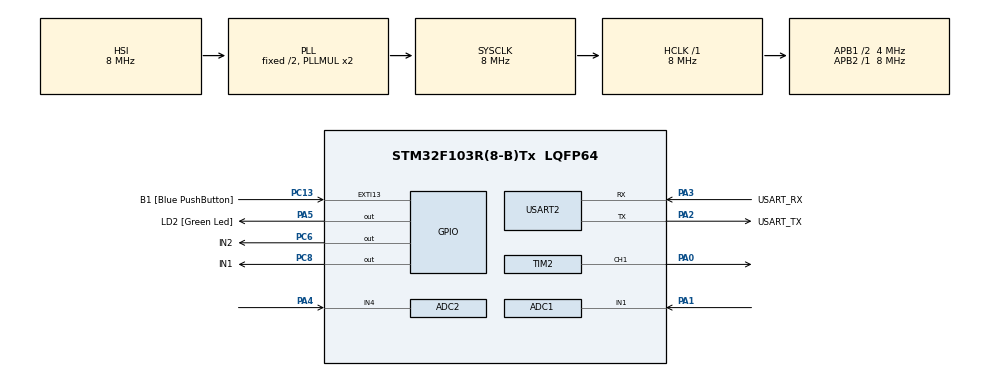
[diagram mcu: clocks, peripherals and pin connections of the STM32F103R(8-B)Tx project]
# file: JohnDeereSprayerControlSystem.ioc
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ADC1.Channel-2\#ChannelRegularConversion=ADC_CHANNEL_1
ADC1.NbrOfConversionFlag=1
ADC1.Rank-2\#ChannelRegularConversion=1
ADC1.SamplingTime-2\#ChannelRegularConversion=ADC_SAMPLETIME_1CYCLE_5
ADC1.master=1
ADC2.Channel-0\#ChannelRegularConversion=ADC_CHANNEL_4
ADC2.NbrOfConversionFlag=1
ADC2.Rank-0\#ChannelRegularConversion=1
ADC2.SamplingTime-0\#ChannelRegularConversion=ADC_SAMPLETIME_1CYCLE_5
Mcu.Family=STM32F1
Mcu.Name=STM32F103R(8-B)Tx
Mcu.Package=LQFP64
NVIC.EXTI15_10_IRQn=true\:0\:0\:false\:false\:true\:true\:true\:true
NVIC.PriorityGroup=NVIC_PRIORITYGROUP_4
PA0-WKUP.Signal=S_TIM2_CH1_ETR
PA1.Signal=ADCx_IN1
PA13.GPIO_Label=TMS
PA13.Mode=Serial_Wire
PA13.Signal=SYS_JTMS-SWDIO
PA14.GPIO_Label=TCK
PA14.Mode=Serial_Wire
PA14.Signal=SYS_JTCK-SWCLK
PA2.GPIO_Label=USART_TX
PA2.GPIO_Mode=GPIO_MODE_AF_PP
PA2.GPIO_PuPd=GPIO_NOPULL
PA2.GPIO_Speed=GPIO_SPEED_FREQ_LOW
PA2.Mode=Asynchronous
PA2.Signal=USART2_TX
PA3.GPIO_Label=USART_RX
PA3.GPIO_Mode=GPIO_MODE_AF_PP
PA3.GPIO_PuPd=GPIO_NOPULL
PA3.GPIO_Speed=GPIO_SPEED_FREQ_LOW
PA3.Mode=Asynchronous
PA3.Signal=USART2_RX
PA4.Signal=ADCx_IN4
PA5.GPIO_Label=LD2 [Green Led]
PA5.GPIO_ModeDefaultOutputPP=GPIO_MODE_OUTPUT_PP
PA5.GPIO_PuPd=GPIO_NOPULL
PA5.GPIO_Speed=GPIO_SPEED_FREQ_LOW
PA5.Signal=GPIO_Output
PB3.GPIO_Label=SWO
PB3.Signal=SYS_JTDO-TRACESWO
PC13-TAMPER-RTC.GPIO_Label=B1 [Blue PushButton]
PC13-TAMPER-RTC.GPIO_PuPd=GPIO_NOPULL
PC13-TAMPER-RTC.Signal=GPXTI13
PC14-OSC32_IN.Mode=LSE-External-Oscillator
PC14-OSC32_IN.Signal=RCC_OSC32_IN
PC15-OSC32_OUT.Mode=LSE-External-Oscillator
PC15-OSC32_OUT.Signal=RCC_OSC32_OUT
PC6.GPIO_Label=IN2
PC6.Signal=GPIO_Output
PC8.GPIO_Label=IN1
PC8.Signal=GPIO_Output
PD0-OSC_IN.Mode=HSE-External-Clock-Source
PD0-OSC_IN.Signal=RCC_OSC_IN
PD1-OSC_OUT.Mode=HSE-External-Clock-Source
PD1-OSC_OUT.Signal=RCC_OSC_OUT
ProjectManager.HeapSize=0x200
ProjectManager.StackSize=0x400
ProjectManager.TargetToolchain=STM32CubeIDE
RCC.AHBFreq_Value=8000000
RCC.APB1CLKDivider=RCC_HCLK_DIV2
RCC.APB1Freq_Value=4000000
RCC.APB1TimFreq_Value=8000000
RCC.APB2Freq_Value=8000000
RCC.APB2TimFreq_Value=8000000
RCC.HCLKFreq_Value=8000000
RCC.RTCClockSelection=RCC_RTCCLKSOURCE_LSE
RCC.SYSCLKFreq_VALUE=8000000
RCC.SYSCLKSource=RCC_SYSCLKSOURCE_PLLCLK
RCC.USBFreq_Value=8000000
SH.ADCx_IN1.0=ADC1_IN1,IN1
SH.ADCx_IN4.0=ADC2_IN4,IN4
SH.S_TIM2_CH1_ETR.0=TIM2_CH1,PWM Generation1 CH1
TIM2.Channel-PWM\ Generation1\ CH1=TIM_CHANNEL_1
TIM2.Period=63999
TIM2.Prescaler=1
USART2.VirtualMode=VM_ASYNC
board=NUCLEO-F103RB

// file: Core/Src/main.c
/* USER CODE BEGIN Header */
/**
  ******************************************************************************
  * @file           : main.c
  * @brief          : Main program body
  ******************************************************************************
  * @attention
  *
  * Copyright (c) 2024 STMicroelectronics.
  * All rights reserved.
  *
  * This software is licensed under terms that can be found in the LICENSE file
  * in the root directory of this software component.
  * If no LICENSE file comes with this software, it is provided AS-IS.
  *
  ******************************************************************************
  */
/* USER CODE END Header */
#include "main.h"

/* USER CODE BEGIN Includes */
#include "motor.h"
#include "read.h"
#include "PRBS.h"
#include "printf.h"
/* USER CODE END Includes */

ADC_HandleTypeDef hadc1;
ADC_HandleTypeDef hadc2;

TIM_HandleTypeDef htim2;

UART_HandleTypeDef huart2;

void SystemClock_Config(void);
static void MX_GPIO_Init(void);
static void MX_USART2_UART_Init(void);
static void MX_TIM2_Init(void);
static void MX_ADC1_Init(void);
static void MX_ADC2_Init(void);

/* USER CODE BEGIN 0 */

// Variables for angle measurements and rotations

float currentAngle = 0;
float previousAngle = 0;
float totalAngle = 0;
int32_t rotations = 0;

// Average filter variables

#define NUM_READINGS 20

float sumReadings = 0;
float setpointReadings[NUM_READINGS];
uint8_t readingIndex = 0;
bool bufferFull = false;

// PID control variables

float setpoint = 0;

const float Kp = -1.039966403870214;
const float Ki = -4.959425433419722;
const float Kd = -0.034733498159463;

/*

// Good PID

const float Kp = -1.039966403870214;
const float Ki = -4.959425433419722;
const float Kd = -0.034733498159463;

// Mid PID

const float Kp = -0.136508053666377;
const float Ki = -0.274237269562137;
const float Kd = -0.004712110883267;

// Bad PID

const float Kp = -0.067365919047418;
const float Ki = -0.097378384380969;
const float Kd = -0.005420369029048;

*/

float error = 0, lastError = 0, lastLastError = 0;
float output = 0, lastOutput = 0;

const float samplingTime =  0.015;

// Timing control variables

uint32_t previousTime = 0;
uint32_t currentTime = 0;
uint32_t elapsedTime = 0;

/* USER CODE END 0 */

int main(void)
{

  /* MCU Configuration--------------------------------------------------------*/

  /* Reset of all peripherals, Initializes the Flash interface and the Systick. */
  HAL_Init();

  /* Configure the system clock */
  SystemClock_Config();

  /* Initialize all configured peripherals */
  MX_GPIO_Init();
  MX_USART2_UART_Init();
  MX_TIM2_Init();
  MX_ADC1_Init();
  MX_ADC2_Init();

  /* Infinite loop */
  while (1)
  {

    /* USER CODE BEGIN 3 */

	// Debug

	printf("%f, %f, %d\r\n", totalAngle, setpoint, elapsedTime);

	// Read the current angle from the sensor and calculate
	// the total angle considering full rotations

	currentAngle = ConvertToAngle(ReadEncoder());
	detectRotations(currentAngle, previousAngle, &rotations);
	totalAngle = (rotations * 360.0) + currentAngle;

	// Apply an average filter to the setpoint

	sumReadings -= setpointReadings[readingIndex];						// Substract the oldest reading
	setpointReadings[readingIndex] = ConvertToAngle(ReadSetpoint());	// Read a new value
	sumReadings += setpointReadings[readingIndex];						// Add the new reading
	readingIndex = (readingIndex + 1) % NUM_READINGS;					// Circular index

	if (readingIndex == 0) bufferFull = true;							// Check if the buffer is full to calculate the average

	if (bufferFull)
	{
		setpoint = (float) sumReadings / NUM_READINGS;
	}
	else
	{
		setpoint = (float) sumReadings / (readingIndex + 1);
	}

	// Elapsed time calculation

	currentTime = HAL_GetTick();
	elapsedTime = currentTime - previousTime;

	// PID calculation

	lastLastError = lastError;
	lastError = error;

	error = setpoint - totalAngle;

	lastOutput = output;

	output = lastOutput + (Kd / samplingTime) * lastLastError + (-Kp - 2.0 * (Kd / samplingTime) + (Ki * samplingTime)) * lastError + (Kp + (Kd / samplingTime)) * error;

	// Limit manipulation inside the range

	if(output < -100) output = -100;
	if(output > 100) output = 100;

	// Move the motor with the manipulation

	if(output < 0)
	{
		Motor_Backward(fabs(output));
	}
	else if(output > 0)
	{
		Motor_Forward(output);
	}
	else
	{
		Motor_Stop();
	}

	// Pause to smooth the movement

	HAL_Delay(8);

	// Update the previous time for the next iteration

	previousTime = currentTime;

	// Update the previous angle for the next iteration

	previousAngle = currentAngle;
  }

  /* USER CODE END 3 */
}

void SystemClock_Config(void)
{
  RCC_OscInitTypeDef RCC_OscInitStruct = {0};
  RCC_ClkInitTypeDef RCC_ClkInitStruct = {0};
  RCC_PeriphCLKInitTypeDef PeriphClkInit = {0};

  /** Initializes the RCC Oscillators according to the specified parameters
  * in the RCC_OscInitTypeDef structure.
  */
  RCC_OscInitStruct.OscillatorType = RCC_OSCILLATORTYPE_HSI;
  RCC_OscInitStruct.HSIState = RCC_HSI_ON;
  RCC_OscInitStruct.HSICalibrationValue = RCC_HSICALIBRATION_DEFAULT;
  RCC_OscInitStruct.PLL.PLLState = RCC_PLL_ON;
  RCC_OscInitStruct.PLL.PLLSource = RCC_PLLSOURCE_HSI_DIV2;
  RCC_OscInitStruct.PLL.PLLMUL = RCC_PLL_MUL2;
  if (HAL_RCC_OscConfig(&RCC_OscInitStruct) != HAL_OK)
  {
    Error_Handler();
  }

  /** Initializes the CPU, AHB and APB buses clocks
  */
  RCC_ClkInitStruct.ClockType = RCC_CLOCKTYPE_HCLK|RCC_CLOCKTYPE_SYSCLK
                              |RCC_CLOCKTYPE_PCLK1|RCC_CLOCKTYPE_PCLK2;
  RCC_ClkInitStruct.SYSCLKSource = RCC_SYSCLKSOURCE_PLLCLK;
  RCC_ClkInitStruct.AHBCLKDivider = RCC_SYSCLK_DIV1;
  RCC_ClkInitStruct.APB1CLKDivider = RCC_HCLK_DIV2;
  RCC_ClkInitStruct.APB2CLKDivider = RCC_HCLK_DIV1;

  if (HAL_RCC_ClockConfig(&RCC_ClkInitStruct, FLASH_LATENCY_0) != HAL_OK)
  {
    Error_Handler();
  }
  PeriphClkInit.PeriphClockSelection = RCC_PERIPHCLK_ADC;
  PeriphClkInit.AdcClockSelection = RCC_ADCPCLK2_DIV2;
  if (HAL_RCCEx_PeriphCLKConfig(&PeriphClkInit) != HAL_OK)
  {
    Error_Handler();
  }
}

static void MX_ADC1_Init(void)
{

  ADC_ChannelConfTypeDef sConfig = {0};

  /** Common config
  */
  hadc1.Instance = ADC1;
  hadc1.Init.ScanConvMode = ADC_SCAN_DISABLE;
  hadc1.Init.ContinuousConvMode = DISABLE;
  hadc1.Init.DiscontinuousConvMode = DISABLE;
  hadc1.Init.ExternalTrigConv = ADC_SOFTWARE_START;
  hadc1.Init.DataAlign = ADC_DATAALIGN_RIGHT;
  hadc1.Init.NbrOfConversion = 1;
  if (HAL_ADC_Init(&hadc1) != HAL_OK)
  {
    Error_Handler();
  }

  /** Configure Regular Channel
  */
  sConfig.Channel = ADC_CHANNEL_1;
  sConfig.Rank = ADC_REGULAR_RANK_1;
  sConfig.SamplingTime = ADC_SAMPLETIME_1CYCLE_5;
  if (HAL_ADC_ConfigChannel(&hadc1, &sConfig) != HAL_OK)
  {
    Error_Handler();
  }

}

static void MX_ADC2_Init(void)
{

  ADC_ChannelConfTypeDef sConfig = {0};

  /** Common config
  */
  hadc2.Instance = ADC2;
  hadc2.Init.ScanConvMode = ADC_SCAN_DISABLE;
  hadc2.Init.ContinuousConvMode = DISABLE;
  hadc2.Init.DiscontinuousConvMode = DISABLE;
  hadc2.Init.ExternalTrigConv = ADC_SOFTWARE_START;
  hadc2.Init.DataAlign = ADC_DATAALIGN_RIGHT;
  hadc2.Init.NbrOfConversion = 1;
  if (HAL_ADC_Init(&hadc2) != HAL_OK)
  {
    Error_Handler();
  }

  /** Configure Regular Channel
  */
  sConfig.Channel = ADC_CHANNEL_4;
  sConfig.Rank = ADC_REGULAR_RANK_1;
  sConfig.SamplingTime = ADC_SAMPLETIME_1CYCLE_5;
  if (HAL_ADC_ConfigChannel(&hadc2, &sConfig) != HAL_OK)
  {
    Error_Handler();
  }

}

static void MX_TIM2_Init(void)
{

  TIM_MasterConfigTypeDef sMasterConfig = {0};
  TIM_OC_InitTypeDef sConfigOC = {0};

  htim2.Instance = TIM2;
  htim2.Init.Prescaler = 1;
  htim2.Init.CounterMode = TIM_COUNTERMODE_UP;
  htim2.Init.Period = 63999;
  htim2.Init.ClockDivision = TIM_CLOCKDIVISION_DIV1;
  htim2.Init.AutoReloadPreload = TIM_AUTORELOAD_PRELOAD_DISABLE;
  if (HAL_TIM_PWM_Init(&htim2) != HAL_OK)
  {
    Error_Handler();
  }
  sMasterConfig.MasterOutputTrigger = TIM_TRGO_RESET;
  sMasterConfig.MasterSlaveMode = TIM_MASTERSLAVEMODE_DISABLE;
  if (HAL_TIMEx_MasterConfigSynchronization(&htim2, &sMasterConfig) != HAL_OK)
  {
    Error_Handler();
  }
  sConfigOC.OCMode = TIM_OCMODE_PWM1;
  sConfigOC.Pulse = 0;
  sConfigOC.OCPolarity = TIM_OCPOLARITY_HIGH;
  sConfigOC.OCFastMode = TIM_OCFAST_DISABLE;
  if (HAL_TIM_PWM_ConfigChannel(&htim2, &sConfigOC, TIM_CHANNEL_1) != HAL_OK)
  {
    Error_Handler();
  }
  HAL_TIM_MspPostInit(&htim2);

}

static void MX_USART2_UART_Init(void)
{

  huart2.Instance = USART2;
  huart2.Init.BaudRate = 115200;
  huart2.Init.WordLength = UART_WORDLENGTH_8B;
  huart2.Init.StopBits = UART_STOPBITS_1;
  huart2.Init.Parity = UART_PARITY_NONE;
  huart2.Init.Mode = UART_MODE_TX_RX;
  huart2.Init.HwFlowCtl = UART_HWCONTROL_NONE;
  huart2.Init.OverSampling = UART_OVERSAMPLING_16;
  if (HAL_UART_Init(&huart2) != HAL_OK)
  {
    Error_Handler();
  }

}

static void MX_GPIO_Init(void)
{
  GPIO_InitTypeDef GPIO_InitStruct = {0};

  /* GPIO Ports Clock Enable */
  __HAL_RCC_GPIOC_CLK_ENABLE();
  __HAL_RCC_GPIOD_CLK_ENABLE();
  __HAL_RCC_GPIOA_CLK_ENABLE();
  __HAL_RCC_GPIOB_CLK_ENABLE();

  /*Configure GPIO pin Output Level */
  HAL_GPIO_WritePin(LD2_GPIO_Port, LD2_Pin, GPIO_PIN_RESET);

  /*Configure GPIO pin Output Level */
  HAL_GPIO_WritePin(GPIOC, IN2_Pin|IN1_Pin, GPIO_PIN_RESET);

  /*Configure GPIO pin : B1_Pin */
  GPIO_InitStruct.Pin = B1_Pin;
  GPIO_InitStruct.Mode = GPIO_MODE_IT_RISING;
  GPIO_InitStruct.Pull = GPIO_NOPULL;
  HAL_GPIO_Init(B1_GPIO_Port, &GPIO_InitStruct);

  /*Configure GPIO pin : LD2_Pin */
  GPIO_InitStruct.Pin = LD2_Pin;
  GPIO_InitStruct.Mode = GPIO_MODE_OUTPUT_PP;
  GPIO_InitStruct.Pull = GPIO_NOPULL;
  GPIO_InitStruct.Speed = GPIO_SPEED_FREQ_LOW;
  HAL_GPIO_Init(LD2_GPIO_Port, &GPIO_InitStruct);

  /*Configure GPIO pins : IN2_Pin IN1_Pin */
  GPIO_InitStruct.Pin = IN2_Pin|IN1_Pin;
  GPIO_InitStruct.Mode = GPIO_MODE_OUTPUT_PP;
  GPIO_InitStruct.Pull = GPIO_NOPULL;
  GPIO_InitStruct.Speed = GPIO_SPEED_FREQ_LOW;
  HAL_GPIO_Init(GPIOC, &GPIO_InitStruct);

  /* EXTI interrupt init*/
  HAL_NVIC_SetPriority(EXTI15_10_IRQn, 0, 0);
  HAL_NVIC_EnableIRQ(EXTI15_10_IRQn);

}

void Error_Handler(void)
{
  __disable_irq();
  while (1)
  {
  }
}
